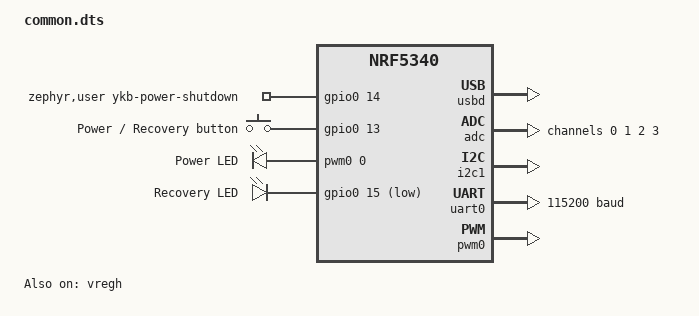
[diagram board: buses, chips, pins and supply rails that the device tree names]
#include "pinctrl.dtsi"

#include "backlight.dts"
#include "battsense.dts"
#include "kb-handler.dts"

/ {

	gpio_fwd: nrf-gpio-forwarder {
		compatible = "nordic,nrf-gpio-forwarder";
		status = "okay";

		cpunet_uart {
			gpios = <&gpio1 14 0>, <&gpio1 15 0>;
		};
	};

	zephyr,user {
		ykb-power-button = <&button0>;
		ykb-power-indicator = <&led1>;
		ykb-power-shutdown-gpios = <&gpio0 14 GPIO_ACTIVE_HIGH>;
	};

	aliases {
		mcuboot-button0 = &button0;
		mcuboot-led0 = &led0;
	};

	chosen {
		zephyr,console = &uart0;
		zephyr,shell-uart = &uart0;
		zephyr,uart-mcumgr = &uart0;
		zephyr,bt-mon-uart = &uart0;
		zephyr,bt-c2h-uart = &uart0;

		zephyr,bt-hci = &bt_hci_ipc0;
	};
	buttons {
		compatible = "gpio-keys";
		button0: button0 {
			gpios = <&gpio0 13 GPIO_ACTIVE_HIGH>;
			label = "Power / Recovery button";
		};
	};

	// We are using the same LED as PWM in the firmware itself
	// and as GPIO LED in MCUBoot (MCUBoot doesn't support pwm-leds for some reason)
	pwm-leds {
		compatible = "pwm-leds";
		led1: led1 {
			pwms = <&pwm0 0 PWM_MSEC(20) PWM_POLARITY_NORMAL>;
			label = "Power LED";
		};
	};
	gpio-leds {
		compatible = "gpio-leds";
		led0: led0 {
			gpios = <&gpio0 15 GPIO_ACTIVE_LOW>;
			label = "Recovery LED";
		};
	};

};

zephyr_udc0: &usbd {
	compatible = "nordic,nrf-usbd";
	status = "okay";

	cdc_acm_uart0 {
		current-speed = <115200>;
		compatible = "zephyr,cdc-acm-uart";
		label = "Zephyr USB CDC-ACM";
	};

	hid_kbd: hid_kbd {
		compatible = "zephyr,hid-device";
		label = "hid_kbd";
		protocol-code = "keyboard";
		in-report-size = <8>;
		out-report-size = <1>;
		in-polling-period-us = <1000>;
		out-polling-period-us = <1000>;
	};

	hid_mouse: hid_mouse {
		compatible = "zephyr,hid-device";
		label = "hid_mouse";
		protocol-code = "mouse";
		in-report-size = <8>;
		out-report-size = <1>;
		in-polling-period-us = <1000>;
		out-polling-period-us = <1000>;
	};

	hid_vendor: hid_vendor {
		compatible = "zephyr,hid-device";
		label = "hid_vendor";
		protocol-code = "none";
		in-report-size = <64>;
		out-report-size = <64>;
		in-polling-period-us = <1000>;
		out-polling-period-us = <1000>;
	};
};

&vregmain {
	regulator-initial-mode = <NRF5X_REG_MODE_DCDC>;
};

&vregradio {
	regulator-initial-mode = <NRF5X_REG_MODE_DCDC>;
};

&vregh {
	status = "okay";
};

&lfxo {
	load-capacitors = "external";
};

&uicr {
	nfct-pins-as-gpios;
};

&adc {
	status = "okay";

	#address-cells = <1>;
	#size-cells = <0>;

	channel@0 {
		reg = <0>;
		zephyr,gain = "ADC_GAIN_1_6";
		zephyr,reference = "ADC_REF_INTERNAL";
		zephyr,acquisition-time =
			<ADC_ACQ_TIME(ADC_ACQ_TIME_MICROSECONDS, 10)>;
		zephyr,input-positive = <NRF_SAADC_AIN0>;
		zephyr,resolution = <10>;
		zephyr,oversampling = <3>;
	};
	channel@1 {
		reg = <1>;
		zephyr,gain = "ADC_GAIN_1_6";
		zephyr,reference = "ADC_REF_INTERNAL";
		zephyr,acquisition-time =
			<ADC_ACQ_TIME(ADC_ACQ_TIME_MICROSECONDS, 10)>;
		zephyr,input-positive = <NRF_SAADC_AIN1>;
		zephyr,resolution = <10>;
		zephyr,oversampling = <3>;
	};
	channel@2 {
		reg = <2>;
		zephyr,gain = "ADC_GAIN_1_6";
		zephyr,reference = "ADC_REF_INTERNAL";
		zephyr,acquisition-time =
			<ADC_ACQ_TIME(ADC_ACQ_TIME_MICROSECONDS, 10)>;
		zephyr,input-positive = <NRF_SAADC_AIN2>;
		zephyr,resolution = <10>;
		zephyr,oversampling = <3>;
	};
	channel@3 {
		reg = <3>;
		zephyr,gain = "ADC_GAIN_1_6";
		zephyr,reference = "ADC_REF_INTERNAL";
		zephyr,acquisition-time =
			<ADC_ACQ_TIME(ADC_ACQ_TIME_MICROSECONDS, 10)>;
		zephyr,input-positive = <NRF_SAADC_AIN3>;
		zephyr,resolution = <10>;
		zephyr,oversampling = <3>;
	};

};

&gpiote {
	status = "okay";
};

&gpio0 {
	status = "okay";
};

&gpio1 {
	status = "okay";
};

&i2c1 {
	compatible = "nordic,nrf-twim";
	status = "okay";
	pinctrl-0 = <&i2c1_default>;
	pinctrl-1 = <&i2c1_sleep>;
	pinctrl-names = "default", "sleep";
};

&uart0 {
	status = "okay";
	current-speed = <115200>;
	pinctrl-0 = <&uart0_default>;
	pinctrl-1 = <&uart0_sleep>;
	pinctrl-names = "default", "sleep";
};

&flash0 {
	partitions {
		compatible = "fixed-partitions";
		#address-cells = <1>;
		#size-cells = <1>;

		boot_partition: partition@0 {
			label = "mcuboot";
			reg = <0x00000000 0x00014000>;
		};

		slot0_partition: partition@14000 {
			label = "image-0";
			reg = <0x00014000 0x0004E000>;
		};

		slot1_partition: partition@62000 {
			label = "image-1";
			reg = <0x00062000 0x0004E000>;
		};

		netcore_slot_partition: partition@b0000 {
			label = "image-net-core";
			reg = <0x000B0000 0x00040000>;
		};

		storage_partition: partition@f0000 {
			label = "storage";
			reg = <0x000F0000 0x00010000>;
		};
	};
};

&pwm0 {
	status = "okay";
	pinctrl-0 = <&pwm0_default>;
	pinctrl-1 = <&pwm0_sleep>;
	pinctrl-names = "default", "sleep";
};

#include <nordic/nrf5340_sram_partition.dtsi>
#include <nordic/nrf5340_shared_sram_partition.dtsi>
